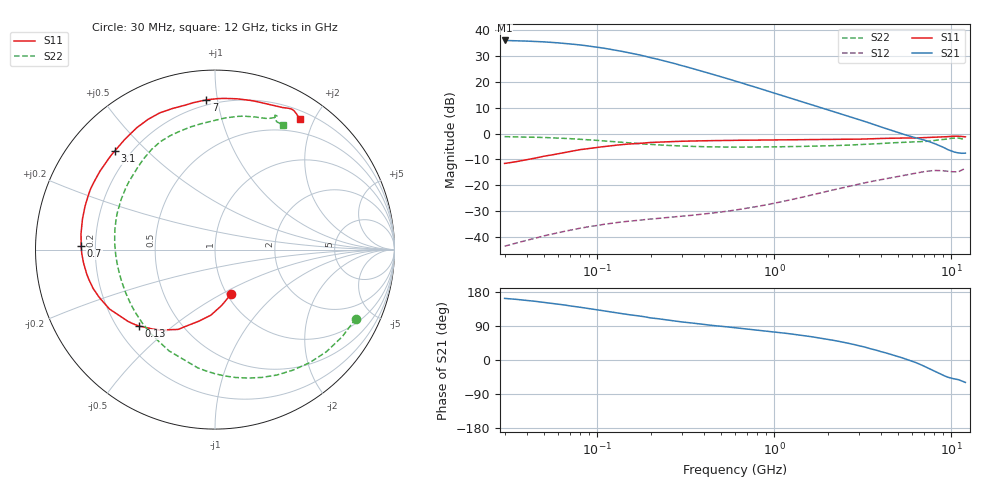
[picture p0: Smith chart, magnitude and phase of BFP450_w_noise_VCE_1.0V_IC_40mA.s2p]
! (c) 2015  Infineon Technologies AG, Munich
! Infineon Technologies  Discrete & RF Semiconductors
! BFP450
! VCE =  1.0 V,  IC =  40 mA
! Common Emitter S-Parameters:  Nov 2015
# GHz  S  MA  R  50
!  f  S11  S21  S12  S22
! GHz  MAG  ANG  MAG  ANG  MAG  ANG  MAG  ANG
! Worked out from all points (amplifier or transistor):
!   239 points, 30 MHz to 12 GHz, reference 50 ohm
!   highest |S21| = 36.0 dB at 30 MHz (marker M1)
!   |S21| within 3 dB of that: start of sweep to 109.3 MHz
!   unconditionally stable (mu >= 1): 1.204 GHz to end of sweep
!   at 300 MHz: K = 0.49, MSG = 29.1 dB, |S12| = -31.9 dB
!   at 1.88 GHz: K = 1.08, MAG = 14.5 dB, |S12| = -22.7 dB
!   at 12 GHz: K = 1.09, MAG = 1.1 dB, |S12| = -13.5 dB
!   lowest NFmin = 1.41 dB at 450 MHz
!   S11 on the Smith chart (normalised r, x): 30 MHz: 1.04, -0.56; 130 MHz: 0.29, -0.39; 700 MHz: 0.15, +0.01; 3.1 GHz: 0.14, +0.40; 7 GHz: 0.17, +0.93; 12 GHz: 0.31, +1.80
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0.03  0.265 -70.6  62.95 162.6  0.0067 77.5  0.8736 -26.1
0.04  0.3134 -83.2  61.19 157.3  0.0087 72.9  0.859 -34.4
0.05  0.3656 -93.5  59.13 152.0  0.0106 68.7  0.8421 -42.5
0.06  0.4076 -102.5  56.61 147.6  0.0122 64.0  0.8216 -50.0
0.07  0.4492 -109.7  54.04 142.9  0.0136 61.3  0.7998 -57.1
0.085  0.5021 -117.4  50.28 137.4  0.0154 57.1  0.7681 -66.7
0.1  0.5426 -124.3  46.65 132.3  0.0168 53.6  0.7398 -75.4
0.13  0.6009 -134.8  40.23 124.1  0.0192 48.7  0.6913 -90.1
0.15  0.6289 -140.6  36.58 119.6  0.0203 46.3  0.6657 -98.3
0.2  0.6747 -150.6  29.32 111.1  0.0224 42.7  0.62 -114.3
0.24  0.6919 -156.0  25.3 106.6  0.0237 41.3  0.596 -123.6
0.3  0.7126 -162.3  20.58 100.5  0.0254 40.8  0.5756 -134.8
0.36  0.7226 -166.8  17.36 96.4  0.027 41.3  0.5637 -142.8
0.45  0.7324 -172.1  13.9 91.1  0.0293 42.4  0.5542 -151.9
0.6  0.7425 -178.2  10.37 85.0  0.0333 44.7  0.5493 -162.3
0.7  0.746 178.6  8.827 81.7  0.0361 46.0  0.5493 -167.3
1  0.7529 171.1  6.042 73.9  0.0452 48.4  0.555 -178.3
1.64  0.7658 158.8  3.573 61.1  0.0657 47.6  0.572 166.2
3.1  0.7834 135.5  1.805 36.3  0.1086 34.7  0.6133 140.1
4.5  0.816 117.2  1.174 15.4  0.1387 20.5  0.6606 122.3
7  0.8359 93.3  0.753 -16.2  0.1841 -4.4  0.7054 96.3
12  0.8661 57.0  0.42 -59.1  0.2125 -42.7  0.7923 61.6
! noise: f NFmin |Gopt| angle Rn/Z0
0.45  1.41  0.49  -173  0.06
0.9  1.48  0.51  -169  0.07
1.9  1.59  0.57  -153  0.1
2.4  1.69  0.58  -145  0.12
